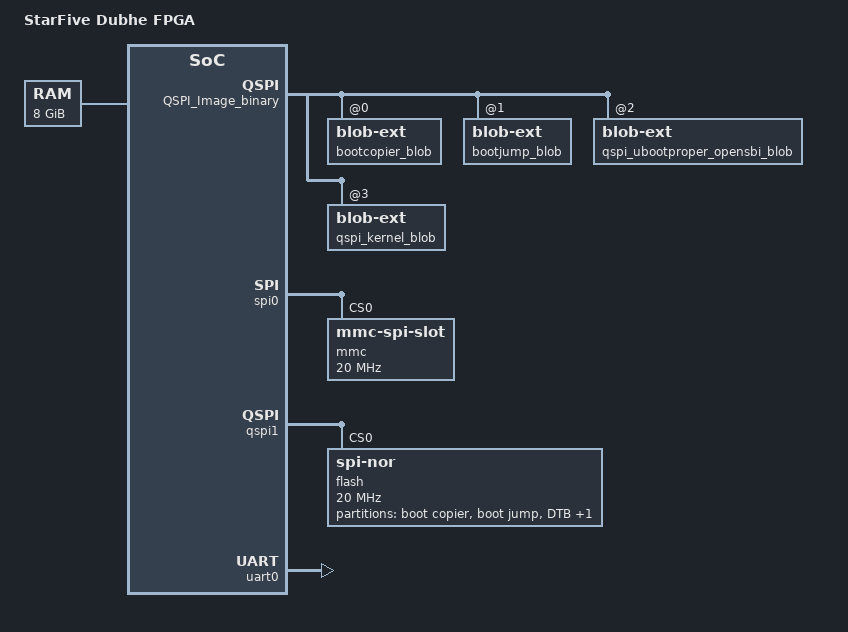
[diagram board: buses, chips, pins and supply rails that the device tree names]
// SPDX-License-Identifier: (GPL-2.0 OR MIT)
/* Copyright (c) 2021 StarFive Technology Co., Ltd. */

#include "dubhe.dtsi"
#include "dubhe-fpga-u-boot.dtsi"

/ {
	model = "StarFive Dubhe FPGA";

	aliases {
		serial0 = &uart0;
	};

	chosen {
		bootargs = "console=ttySIF0,115200 earlycon=sbi root=/dev/mmcblk0p2 rw rootfstype=ext4 rootwait";
	};

	cpus {
		timebase-frequency = <25000000>;

	};

	memory@80000000 {
		device_type = "memory";
		reg = <0x0 0x80000000 0x2 0x0>;
	};

	soc {
	};
	
	binman: binman {
		multiple-images;
	};
};

&spi0 {
	status = "okay";
	mmc@0 {
		compatible = "mmc-spi-slot";
		reg = <0>;
		spi-max-frequency = <20000000>;
		voltage-ranges = <3300 3300>;
		disable-wp;
	};
};

&qspi1 {
	status = "okay";

	flash@0 {
                compatible = "jedec,spi-nor";
                reg = <0>;
                spi-max-frequency = <20000000>;
                m25p,fast-read;
                spi-tx-bus-width = <1>;
                spi-rx-bus-width = <1>;

                partitions {
			compatible = "fixed-partitions";
			#address-cells = <1>;
			#size-cells = <1>;

			partition@0 {
				reg = <0x000000 0x1000>;
				label = "boot copier";
				/*read-only;*/
			};

			partition@1000 {
				reg = <0x1000 0x1000>;
				label = "boot jump";
				/*read-only;*/
			};

			partition@2000 {
				reg = <0x2000 0x2000>;
				label = "DTB";
			};

			partition@4000 {
				reg = <0x4000 0x7ffc000>;
				label = "FW_payload (OpenSBI and Linux)";
			};
		};
        };

};

&uart0 {
	status = "okay";
};

&binman {

	kernel_fit {
		filename = "kernel_sign.itb";
		fit {
			description = "FIT with Linux kernel image and FDT";
			#address-cells = <1>;
			images {
				kernel {
					description = "Linux kernel";
					type = "kernel";
					arch = "riscv";
					os = "linux";
					compression = "none";
					load = <0x80200000>;
					entry = <0x80200000>;
					kernel_blob: blob-ext {
						filename = "Image";
					};
					hash {
						algo = "sha256";
					};
				};
				fdt_kernel {
					description = "Linux kernel device tree binary";
					type = "flat_dt";
					arch = "riscv";
					compression = "none";
					load = <0x88000000>;
					fdt_kernel_blob: blob-ext {
						filename = "dubhe_fpga_linux.dtb";
					};
					hash {
						algo = "sha256";
					};
				};
			};

			configurations {
				default = "conf";
				conf {
					description = "Starfive Dubhe FPGA";
					kernel = "kernel";
					fdt = "fdt_kernel";
					signature {
						algo = "sha256,rsa4096";
						key-name-hint = "starfive_linux";
						sign-images = "fdt", "kernel";
					};
				};
			};
		};
	};

	kernel_fit_sign {
		arg {
			args = "mkimage -k ../starfive_key/linux_key -K u-boot.dtb -r -F kernel_sign.itb";
		};
	};

	uboot_fit {
		filename = "u-boot_sign.itb";

		fit {
			description = "Configuration to load OpenSBI before U-Boot";
			#address-cells = <1>;
			fit,fdt-list = "of-list";

			images {
				uboot {
					description = "U-Boot";
					type = "standalone";
					os = "U-Boot";
					arch = "riscv";
					compression = "none";
					load = <CONFIG_SYS_TEXT_BASE>;

					uboot_blob: blob-ext {
						filename = "u-boot-nodtb.bin";
					};
					hash {
						algo = "sha256";
					};
				};

				opensbi {
					description = "OpenSBI fw_dynamic Firmware";
					type = "firmware";
					os = "opensbi";
					arch = "riscv";
					compression = "none";
					load = <CONFIG_SPL_OPENSBI_LOAD_ADDR>;
					entry = <CONFIG_SPL_OPENSBI_LOAD_ADDR>;

					opensbi_blob: opensbi {
						filename = "fw_dynamic.bin";
					};
					hash {
						algo = "sha256";
					};
				};

				fdt {
					description = "U-Boot proper device tree binary"; //"NAME";
					type = "flat_dt";
					arch = "riscv";
					compression = "none";
					fdt_blob: blob-ext {
						filename = "u-boot.dtb";
					};
					hash {
						algo = "sha256";
					};
				};
			};

			configurations {
				default = "conf";
				conf {
					description = "Starfive Dubhe FPGA"; //"NAME";
					firmware = "opensbi";
					loadables = "uboot";
					fdt = "fdt";
					signature {
						algo = "sha256,rsa4096";
						key-name-hint = "starfive_uboot";
						sign-images = "fdt", "firmware", "loadables";
					};
				};
			};
		};
	};

	uboot_fit_sign {
		arg {
			args = "mkimage -k ../starfive_key/uboot_key -K spl/u-boot-spl.dtb -r -F u-boot_sign.itb";
		};
	};

	uboot_spl_key {
		arg {
			args = "make spl/u-boot-spl";
		};
	};

	QSPI_Image_binary {
		filename = "QSPI-Image-signed.bin";
		pad-byte = <0xff>;

		bootcopier_blob: blob-ext@0 {
			filename = "dubhe_fpga_bootcode.bin";
			offset = <0x0>;
		};

		bootjump_blob: blob-ext@1 {
			filename = "dubhe_fpga_bootjump.bin";
			offset = <0x1000>;
		};

		u-boot-spl {
			offset = <0x2000>;
		};

		qspi_ubootproper_opensbi_blob: blob-ext@2 {
			filename = "u-boot_sign.itb";
			offset = <0x22000>;
		};

		qspi_kernel_blob: blob-ext@3 {
			filename = "kernel_sign.itb";
			offset = <0x400000>;
		};
	};
};
